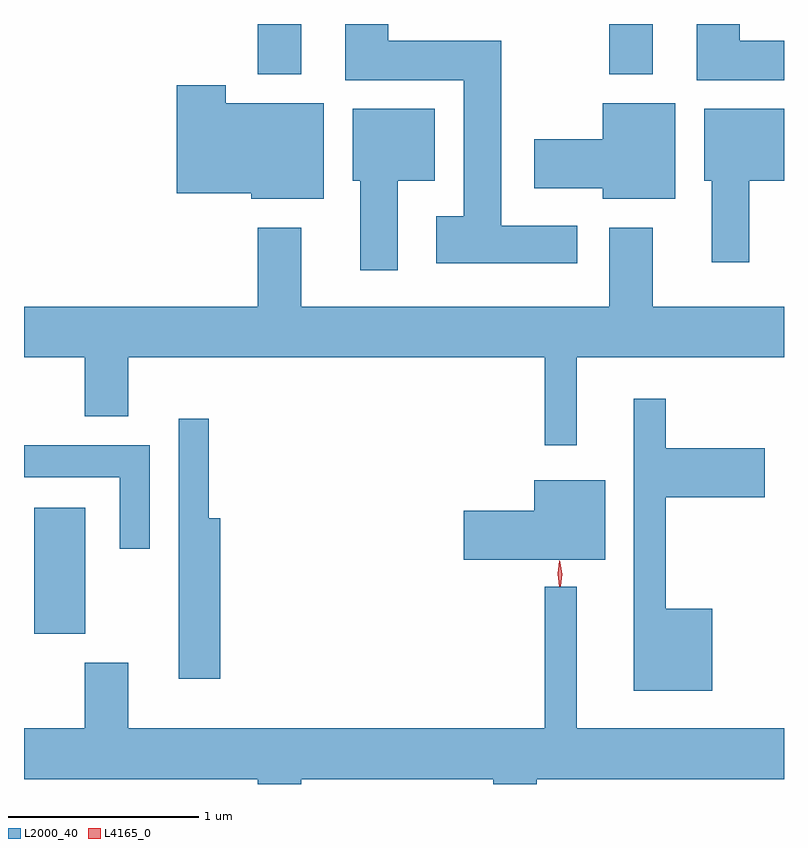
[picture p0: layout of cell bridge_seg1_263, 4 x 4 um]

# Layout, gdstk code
import gdstk
lib = gdstk.Library(unit=1e-6, precision=1e-09)
def R(c, l, rs):  # rectangles x0, y0, x1, y1
    for r in rs: c.add(gdstk.rectangle(r[:2], r[2:], *l))
def P(c, l, *ps):  # polygons
    for p in ps: c.add(gdstk.Polygon(p, *l))
L2000_40 = (2000, 40)
L4165_0 = (4165, 0)

bridge_seg1_263 = lib.new_cell('bridge_seg1_263')
R(bridge_seg1_263, L2000_40, [(961.546,884.801,961.814,885.464), (962.721,887.746,962.949,888.011), (964.571,887.746,964.799,888.011)])
P(bridge_seg1_263, L2000_40, [(965.491,887.924),(965.259,887.924),(965.259,888.011),(965.031,888.011),(965.031,887.716),(965.491,887.716)],
  [(964.404,886.949),(964.004,886.949),(964.004,887.924),(963.409,887.924),(963.409,888.011),(963.181,888.011),(963.181,887.716),(963.806,887.716),(963.806,886.999),(963.661,886.999),(963.661,886.751),(964.404,886.751)],
  [(963.069,887.594),(962.554,887.594),(962.554,887.689),(962.296,887.689),(962.296,887.121),(962.686,887.121),(962.686,887.091),(963.069,887.091)],
  [(964.919,887.594),(964.536,887.594),(964.536,887.404),(964.176,887.404),(964.176,887.146),(964.536,887.146),(964.536,887.091),(964.919,887.091)],
  [(965.309,887.186),(965.491,887.186),(965.491,887.564),(965.071,887.564),(965.071,887.186),(965.111,887.186),(965.111,886.756),(965.309,886.756)],
  [(963.459,887.186),(963.654,887.186),(963.654,887.564),(963.221,887.564),(963.221,887.186),(963.261,887.186),(963.261,886.716),(963.459,886.716)],
  [(964.399,886.256),(965.491,886.256),(965.491,886.524),(964.799,886.524),(964.799,886.939),(964.571,886.939),(964.571,886.524),(962.949,886.524),(962.949,886.939),(962.721,886.939),(962.721,886.524),(961.491,886.524),(961.491,886.256),(961.811,886.256),(961.811,885.946),(962.039,885.946),(962.039,886.256),(964.231,886.256),(964.231,885.793),(964.399,885.793)],
  [(965.114,884.934),(964.869,884.934),(964.869,885.521),(965.389,885.521),(965.389,885.779),(964.869,885.779),(964.869,886.038),(964.701,886.038),(964.701,884.501),(965.114,884.501)],
  [(962.524,885.409),(962.464,885.409),(962.464,885.933),(962.306,885.933),(962.306,884.566),(962.524,884.566)],
  [(962.154,885.794),(961.491,885.794),(961.491,885.626),(961.996,885.626),(961.996,885.248),(962.154,885.248)],
  [(964.549,885.609),(964.176,885.609),(964.176,885.449),(963.806,885.449),(963.806,885.191),(964.549,885.191)],
  [(962.949,884.036),(963.961,884.036),(963.961,884.011),(964.189,884.011),(964.189,884.036),(965.491,884.036),(965.491,884.304),(964.399,884.304),(964.399,885.048),(964.231,885.048),(964.231,884.304),(962.039,884.304),(962.039,884.649),(961.811,884.649),(961.811,884.304),(961.491,884.304),(961.491,884.036),(962.721,884.036),(962.721,884.011),(962.949,884.011)])
P(bridge_seg1_263, L4165_0, [(964.309,885.05),(964.299,885.118),(964.308,885.186),(964.309,885.186),(964.31,885.186),(964.319,885.118),(964.31,885.05),(964.31,885.05)],
  [(964.314,885.053),(964.304,885.116),(964.313,885.179),(964.313,885.18),(964.314,885.179),(964.324,885.116),(964.315,885.053),(964.315,885.053)])

lib.write_gds('bridge_seg1_263.gds')
